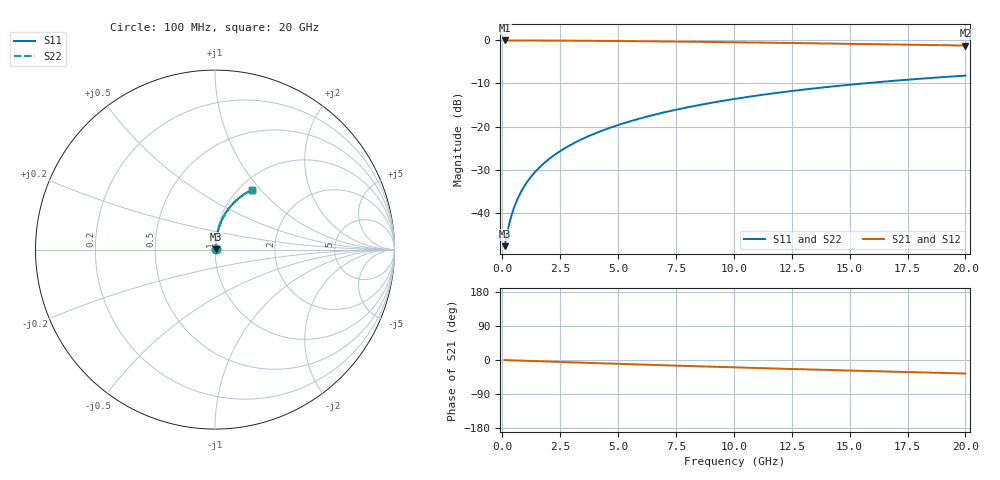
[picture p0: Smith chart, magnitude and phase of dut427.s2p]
! Touchstone file exported from HFSS 2024.1.0
!  File:  C:/UserFiles/LocalFiles/RDL_TSV_Batchsim/temp_RDL_bottom_427_1779684028.aedt
!  Generated:  12:43:25 PM May 25, 2026
!  Design:  RDL_bottom
!  Project:  temp_RDL_bottom_427_1779684028
!  Setup:  Setup1
!  Solution:  Sweep
! Variables:
!  dtsv = 10.80580581um
!  hbump = 3um
!  htsv = 98.19um
!  ldown = 446.88um
!  lrdl = 100um
!  p = 40
!  p1 = 50.8um
!  rhole = 1um
!  t = 450um
!  tdown = 2.91um
!  trdl = 3.915915916um
!  wdown = 16.54um
!  wrdl = 20um
# GHz S MA R 50.000000
! Terminal data exported
! Port[1] = RDL1_T1
! Port[2] = RDL1_T2
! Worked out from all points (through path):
!   200 points, 100 MHz to 20 GHz, reference 50 ohm
!   highest |S21| = -0.03 dB at 100 MHz (marker M1); lowest = -1.2 dB at 20 GHz (marker M2)
!   group delay of S21, straight-line fit = 4.94 ps
!   lowest |S11| = -47.7 dB at 100 MHz (marker M3), VSWR 1.01, Z = 50.3 + j0.22 ohm
!   |S11| at or under -10 dB: start of sweep to 15.59 GHz
!   |S22| runs from -47.7 to -8.2 dB; largest |S21 - S12| = 2.7e-15
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0.1  0.004102 32.2  0.9965 -0.2  0.9965 -0.2  0.004102 32.2
! Gamma 0 0 0 0
! Port Impedance 50 0 50 0
0.2  0.005615 50.8  0.9964 -0.4  0.9964 -0.4  0.005615 50.8
0.3  0.007443 60.6  0.9963 -0.6  0.9963 -0.6  0.007443 60.6
0.4  0.009376 66.2  0.9962 -0.8  0.9962 -0.8  0.009376 66.2
0.5  0.01134 69.9  0.9961 -1.1  0.9961 -1.1  0.01134 69.9
0.6  0.01333 72.4  0.9959 -1.3  0.9959 -1.3  0.01333 72.4
0.8  0.01732 75.7  0.9956 -1.7  0.9956 -1.7  0.01732 75.7
1.1  0.02335 78.6  0.9952 -2.3  0.9952 -2.3  0.02335 78.6
1.3  0.02739 79.7  0.9949 -2.7  0.9949 -2.7  0.02739 79.7
1.6  0.03349 80.9  0.9943 -3.3  0.9943 -3.3  0.03349 80.9
2.1  0.04373 81.9  0.9932 -4.3  0.9932 -4.3  0.04373 81.9
2.7  0.05611 82.3  0.9915 -5.5  0.9915 -5.5  0.05611 82.3
3.5  0.07272 82.1  0.9887 -7.1  0.9887 -7.1  0.07272 82.1
4.2  0.08734 81.7  0.9858 -8.5  0.9858 -8.5  0.08734 81.7
5  0.1041 81.0  0.982 -10.1  0.982 -10.1  0.1041 81.0
5.9  0.1231 80.0  0.9772 -11.8  0.9772 -11.8  0.1231 80.0
6.8  0.142 78.8  0.9719 -13.6  0.9719 -13.6  0.142 78.8
8.4  0.1755 76.5  0.9615 -16.5  0.9615 -16.5  0.1755 76.5
10.1  0.2106 73.9  0.9495 -19.6  0.9495 -19.6  0.2106 73.9
13.4  0.2757 68.6  0.9241 -25.2  0.9241 -25.2  0.2757 68.6
16.7  0.3358 63.4  0.8971 -30.6  0.8971 -30.6  0.3358 63.4
20  0.39 58.3  0.8695 -35.6  0.8695 -35.6  0.3899 58.3
